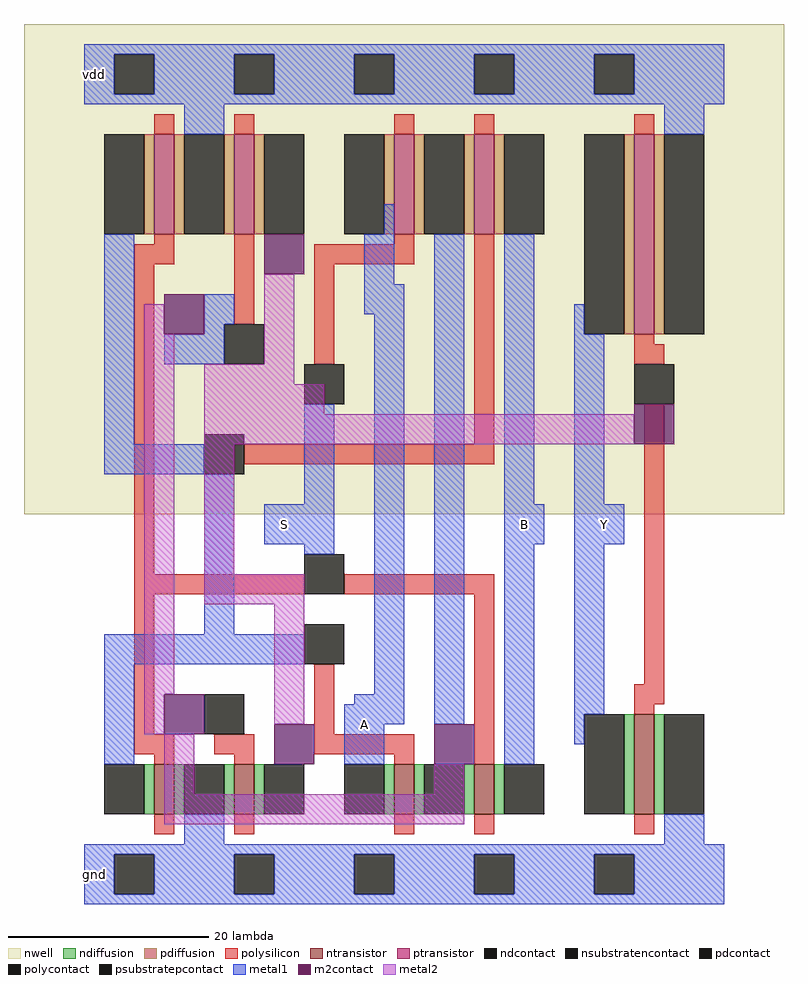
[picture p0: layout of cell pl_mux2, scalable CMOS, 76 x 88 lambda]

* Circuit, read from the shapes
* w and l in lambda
.subckt pl_mux2 A B S Y vdd gnd
M1 gnd S n1 gnd nfet w=5 l=2
M2 n2 n3 gnd gnd nfet w=5 l=2
M3 n3 n1 A gnd nfet w=5 l=2
M4 B S n3 gnd nfet w=5 l=2
M5 gnd n2 Y gnd nfet w=10 l=2
M6 vdd S n1 vdd pfet w=10 l=2
M7 n2 n3 vdd vdd pfet w=10 l=2
M8 n3 S A vdd pfet w=10 l=2
M9 B n1 n3 vdd pfet w=10 l=2
M10 vdd n2 Y vdd pfet w=20 l=2
.ends

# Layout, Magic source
magic
tech scmos
<< nwell >>
rect -6 36 70 85
<< ndiffusion >>
rect 6 6 7 11
rect 9 6 10 11
rect 14 6 15 11
rect 17 6 18 11
rect 30 6 31 11
rect 33 6 34 11
rect 38 6 39 11
rect 41 6 42 11
rect 54 6 55 16
rect 57 6 58 16
<< pdiffusion >>
rect 54 54 55 74
rect 57 54 58 74
rect 6 64 7 74
rect 9 64 10 74
rect 14 64 15 74
rect 17 64 18 74
rect 30 64 31 74
rect 33 64 34 74
rect 38 64 39 74
rect 41 64 42 74
<< polysilicon >>
rect 7 4 9 6
rect 15 4 17 6
rect 31 4 33 6
rect 39 4 41 6
rect 55 4 57 6
rect 7 11 9 12
rect 15 11 17 12
rect 31 11 33 12
rect 39 11 41 28
rect 5 12 9 14
rect 13 12 17 14
rect 23 12 33 14
rect 5 14 7 28
rect 23 14 25 21
rect 55 16 57 17
rect 55 17 58 19
rect 56 19 58 47
rect 5 28 22 30
rect 26 28 41 30
rect 5 30 7 61
rect 16 41 41 43
rect 39 43 41 64
rect 23 51 25 61
rect 55 51 58 53
rect 55 53 57 54
rect 15 55 17 64
rect 5 61 9 63
rect 23 61 33 63
rect 7 63 9 64
rect 31 63 33 64
rect 7 74 9 76
rect 15 74 17 76
rect 31 74 33 76
rect 39 74 41 76
rect 55 74 57 76
<< ntransistor >>
rect 7 6 9 11
rect 15 6 17 11
rect 31 6 33 11
rect 39 6 41 11
rect 55 6 57 16
<< ptransistor >>
rect 55 54 57 74
rect 7 64 9 74
rect 15 64 17 74
rect 31 64 33 74
rect 39 64 41 74
<< ndcontact >>
rect 2 6 6 11
rect 10 6 14 11
rect 18 6 22 11
rect 26 6 30 11
rect 34 6 38 11
rect 42 6 46 11
rect 50 6 54 16
rect 58 6 62 16
<< pdcontact >>
rect 50 54 54 74
rect 58 54 62 74
rect 2 64 6 74
rect 10 64 14 74
rect 18 64 22 74
rect 26 64 30 74
rect 34 64 38 74
rect 42 64 46 74
<< polycontact >>
rect 12 14 16 18
rect 22 21 26 25
rect 22 28 26 32
rect 12 40 16 44
rect 22 47 26 51
rect 55 47 59 51
rect 14 51 18 55
<< psubstratepcontact >>
rect 3 -2 7 2
rect 15 -2 19 2
rect 27 -2 31 2
rect 39 -2 43 2
rect 51 -2 55 2
<< nsubstratencontact >>
rect 3 78 7 82
rect 15 78 19 82
rect 27 78 31 82
rect 39 78 43 82
rect 51 78 55 82
<< metal1 >>
rect 0 -3 64 -2
rect 0 -2 3 2
rect 7 -2 15 2
rect 19 -2 27 2
rect 31 -2 39 2
rect 43 -2 51 2
rect 55 -2 64 2
rect 0 2 64 3
rect 10 3 14 6
rect 58 3 62 6
rect 2 11 5 21
rect 26 11 30 15
rect 42 11 45 33
rect 49 13 50 16
rect 26 15 32 17
rect 35 15 38 64
rect 49 16 52 33
rect 27 17 32 18
rect 29 18 32 56
rect 2 21 22 24
rect 12 24 15 40
rect 22 32 25 33
rect 18 33 25 37
rect 42 33 46 37
rect 49 33 54 37
rect 22 37 25 47
rect 42 37 45 64
rect 49 37 52 54
rect 2 40 12 43
rect 2 43 5 64
rect 8 51 14 54
rect 12 54 14 55
rect 49 54 50 57
rect 12 55 15 58
rect 28 56 32 59
rect 28 59 31 64
rect 30 64 31 67
rect 10 74 14 77
rect 58 74 62 77
rect 0 77 64 78
rect 0 78 3 82
rect 7 78 15 82
rect 19 78 27 82
rect 31 78 39 82
rect 43 78 51 82
rect 55 78 64 82
rect 0 82 64 83
<< m2contact >>
rect 19 11 23 15
rect 35 11 39 15
rect 8 14 12 18
rect 55 43 59 47
rect 8 54 12 58
rect 18 60 22 64
<< metal2 >>
rect 8 5 38 8
rect 8 8 11 14
rect 35 8 38 11
rect 6 14 8 18
rect 19 15 22 27
rect 6 18 9 54
rect 12 27 22 30
rect 12 30 15 43
rect 12 43 55 46
rect 12 46 24 49
rect 12 49 21 51
rect 18 51 21 60
rect 6 54 8 57
<< labels >>
rlabel metal1 s 26 13 30 17 0 A
port 1 nsew signal input
rlabel metal1 s 42 33 46 37 0 B
port 2 nsew signal input
rlabel metal1 s 18 33 22 37 0 S
port 3 nsew signal input
rlabel metal1 s 50 33 54 37 0 Y
port 4 nsew signal output
rlabel metal1 s 0 77 2 83 0 vdd
port 5 nsew power bidirectional
rlabel metal1 s 0 -3 2 3 0 gnd
port 6 nsew ground bidirectional
<< properties >>
string FIXED_BBOX 0 0 64 80
<< end >>
